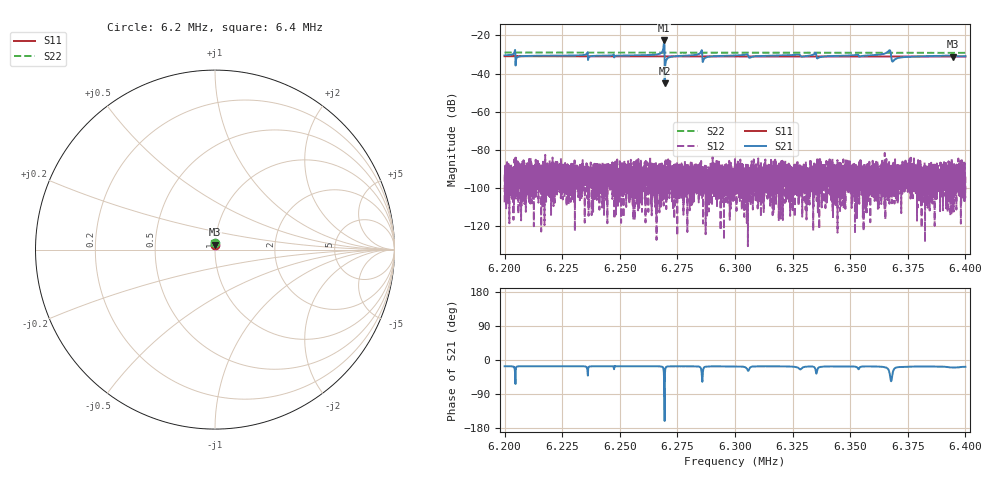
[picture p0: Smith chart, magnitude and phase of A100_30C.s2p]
!CETC41,AV3656A,ZGL00048,1.3.2
!Calibration ON (Full Solt 2-Port(Omit Isolation))
!Measurements: S11 S21 S12 S22
!2025-04-18 00:19
# Hz  S  dB  R 50.000
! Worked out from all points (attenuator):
!   6401 points, 6.2 MHz to 6.4 MHz, reference 50 ohm
!   highest |S21| = -22.68 dB at 6.2693 MHz (marker M1); lowest = -45.2 dB at 6.2695 MHz (marker M2)
!   lowest |S11| = -31.1 dB at 6.3945 MHz (marker M3), VSWR 1.06, Z = 49.9 + j2.77 ohm
!   |S11| at or under -10 dB: start of sweep to end of sweep
!   |S22| runs from -29.2 to -29.0 dB; largest |S21 - S12| = 0.074
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6200000  -30.92 86.7  -30.49 -16.5  -107.37 105.2  -28.99 91.1
6203688  -30.92 86.8  -29.85 -17.1  -94.79 100.3  -28.99 91.1
6205719  -30.92 86.8  -31.32 -16.9  -87.17 -170.9  -29.00 91.2
6233344  -30.95 87.4  -30.44 -16.6  -93.58 110.7  -29.02 91.7
6266688  -30.98 88.2  -29.89 -16.7  -92.11 -109.5  -29.04 92.3
6268406  -30.99 88.2  -28.64 -17.9  -92.30 57.2  -29.05 92.3
6269281  -30.98 88.3  -22.68 -71.5  -89.71 104.2  -29.05 92.3
6269469  -30.99 88.2  -45.19 -161.0  -95.74 39.9  -29.04 92.3
6270438  -30.99 88.4  -32.32 -17.6  -99.10 121.4  -29.05 92.4
6272156  -30.99 88.3  -31.21 -16.8  -96.27 -152.6  -29.05 92.3
6284750  -31.00 88.6  -29.44 -18.4  -94.43 7.8  -29.07 92.5
6286844  -31.00 88.6  -31.91 -18.4  -88.82 7.8  -29.06 92.6
6300000  -31.02 89.0  -30.58 -17.0  -94.22 -164.6  -29.07 92.9
6306875  -31.02 89.1  -31.46 -18.5  -88.01 100.1  -29.08 93.0
6333344  -31.05 89.7  -30.36 -17.1  -101.54 -54.0  -29.10 93.5
6336406  -31.05 89.9  -31.62 -19.7  -94.27 85.3  -29.10 93.5
6354719  -31.07 90.3  -30.93 -17.5  -85.82 100.3  -29.11 93.8
6366688  -31.08 90.4  -28.21 -26.4  -101.87 -101.9  -29.13 94.0
6368906  -31.08 90.5  -33.12 -25.0  -95.43 112.1  -29.12 94.1
6373281  -31.08 90.7  -31.39 -18.2  -92.04 -51.5  -29.13 94.1
6394500  -31.12 91.2  -30.75 -20.0  -94.29 171.1  -29.14 94.5
6400000  -31.11 91.3  -30.91 -18.0  -93.94 64.1  -29.15 94.6
